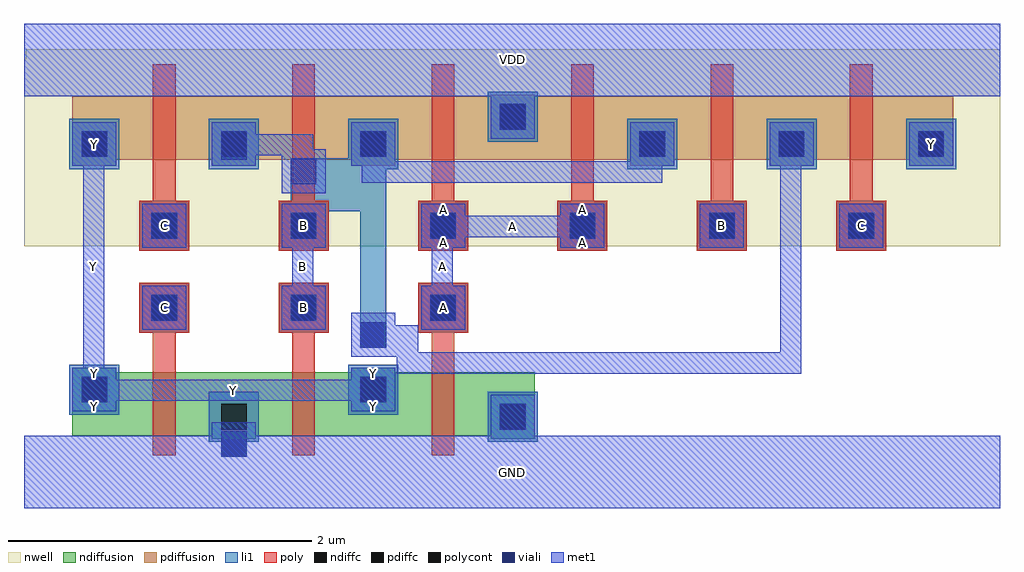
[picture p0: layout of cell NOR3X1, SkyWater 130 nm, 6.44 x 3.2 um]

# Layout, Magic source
magic
# Generated by librecell
tech sky130A
<< nwell >>
rect 0 149 644 272
rect 1 272 644 279
<< viali >>
<< viali >>
rect 130 206 147 208
rect 130 10 147 27
rect 314 28 331 45
rect 38 46 55 63
rect 222 46 239 63
rect 222 82 239 99
rect 84 100 101 117
rect 176 100 193 117
rect 268 100 285 117
rect 84 154 101 171
rect 176 154 193 171
rect 268 154 285 171
rect 360 154 377 171
rect 452 154 469 171
rect 544 154 561 171
rect 176 190 193 207
rect 38 208 55 225
rect 130 208 147 225
rect 222 208 239 225
rect 406 208 423 225
rect 498 208 515 225
rect 590 208 607 225
rect 314 226 331 243
<< poly >>
rect 85 11 100 92
rect 76 92 109 125
rect 177 11 192 92
rect 168 92 201 125
rect 269 11 284 92
rect 260 92 293 125
rect 76 146 109 179
rect 85 179 100 269
rect 168 146 201 179
rect 177 179 192 269
rect 260 146 293 179
rect 269 179 284 269
rect 352 146 385 179
rect 361 179 376 269
rect 444 146 477 179
rect 453 179 468 269
rect 536 146 569 179
rect 545 179 560 269
<< properties >>
string FIXED_BBOX 0 0 644 272
<< li1 >>
rect 130 10 147 20
rect 122 20 155 53
rect 306 20 339 53
rect 30 38 63 71
rect 214 38 247 71
rect 76 92 109 125
rect 168 92 201 125
rect 260 92 293 125
rect 76 146 109 179
rect 260 146 293 179
rect 352 146 385 179
rect 444 146 477 179
rect 536 146 569 179
rect 30 200 63 233
rect 122 200 155 233
rect 168 146 201 172
rect 222 82 239 172
rect 168 172 239 179
rect 176 179 239 200
rect 176 200 247 207
rect 214 207 247 233
rect 398 200 431 233
rect 490 200 523 233
rect 582 200 615 233
rect 306 218 339 251
<< met1 >>
rect 0 -24 644 24
rect 124 24 153 33
rect 308 24 337 51
rect 78 94 107 123
rect 78 148 107 177
rect 170 94 199 123
rect 177 123 191 148
rect 170 148 199 177
rect 262 94 291 123
rect 269 123 283 148
rect 262 148 291 155
rect 354 148 383 155
rect 262 155 383 169
rect 262 169 291 177
rect 354 169 383 177
rect 446 148 475 177
rect 538 148 567 177
rect 32 40 61 47
rect 216 40 245 47
rect 32 47 245 61
rect 32 61 61 69
rect 216 61 245 69
rect 39 69 53 202
rect 32 202 61 231
rect 124 202 153 209
rect 170 184 199 209
rect 124 209 199 213
rect 124 213 191 223
rect 124 223 153 231
rect 223 191 421 202
rect 216 202 429 205
rect 216 205 245 231
rect 400 205 429 231
rect 246 65 513 76
rect 216 76 513 79
rect 216 79 260 97
rect 216 97 245 105
rect 499 79 513 202
rect 492 202 521 231
rect 584 202 613 231
rect 308 220 337 248
rect 0 248 644 296
<< li1 >>
<< met1 >>
<< li1 >>
<< met1 >>
rect 0 -24 644 24
rect 78 148 107 177
rect 262 94 291 123
rect 269 123 283 148
rect 262 148 291 155
rect 354 148 383 155
rect 262 155 383 169
rect 262 169 291 177
rect 354 169 383 177
rect 446 148 475 177
rect 584 202 613 231
rect 0 248 644 296
<< ndiffusion >>
rect 124 22 153 24
rect 308 22 337 24
rect 32 24 337 66
rect 32 66 61 69
rect 216 66 245 69
<< pdiffusion >>
rect 32 202 61 206
rect 124 202 153 206
rect 216 202 245 206
rect 400 202 429 206
rect 492 202 521 206
rect 584 202 613 206
rect 32 206 613 248
rect 308 248 337 249
<< polycont >>
rect 84 100 101 117
rect 176 100 193 117
rect 268 100 285 117
rect 84 154 101 171
rect 176 154 193 171
rect 268 154 285 171
rect 360 154 377 171
rect 452 154 469 171
rect 544 154 561 171
<< pdiffc >>
rect 38 208 55 225
rect 130 208 147 225
rect 222 208 239 225
rect 406 208 423 225
rect 498 208 515 225
rect 590 208 607 225
rect 314 226 331 243
<< ndiffc >>
rect 130 28 147 45
rect 314 28 331 45
rect 38 46 55 63
rect 222 46 239 63
<< labels >>
rlabel metal2 0 248 644 296 0 VDD
port 1 se
rlabel metal2 0 -24 644 24 0 GND
port 2 se
rlabel metal2 32 40 61 47 0 Y
port 3 se
rlabel metal2 216 40 245 47 0 Y
port 4 se
rlabel metal2 32 47 245 61 0 Y
port 5 se
rlabel metal2 32 61 61 69 0 Y
port 6 se
rlabel metal2 216 61 245 69 0 Y
port 7 se
rlabel metal2 39 69 53 202 0 Y
port 8 se
rlabel metal2 32 202 61 231 0 Y
port 9 se
rlabel metal2 584 202 613 231 0 Y
port 10 se
rlabel metal2 170 94 199 123 0 B
port 11 se
rlabel metal2 177 123 191 148 0 B
port 12 se
rlabel metal2 170 148 199 177 0 B
port 13 se
rlabel metal2 446 148 475 177 0 B
port 14 se
rlabel metal2 538 148 567 177 0 C
port 15 se
rlabel metal2 78 94 107 123 0 C
port 16 se
rlabel metal2 78 148 107 177 0 C
port 17 se
rlabel metal2 262 94 291 123 0 A
port 18 se
rlabel metal2 269 123 283 148 0 A
port 19 se
rlabel metal2 262 148 291 155 0 A
port 20 se
rlabel metal2 354 148 383 155 0 A
port 21 se
rlabel metal2 262 155 383 169 0 A
port 22 se
rlabel metal2 262 169 291 177 0 A
port 23 se
rlabel metal2 354 169 383 177 0 A
port 24 se
<< end >>
